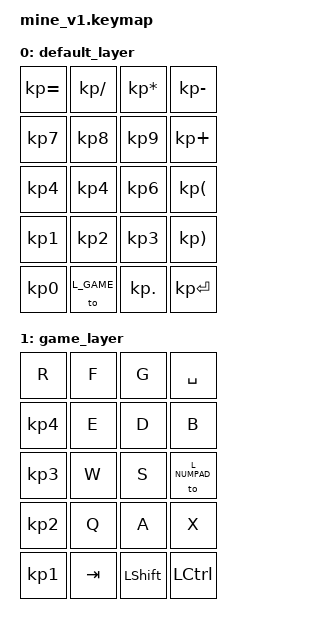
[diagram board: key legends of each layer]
#include <behaviors.dtsi>
#include <dt-bindings/zmk/keys.h>

#define L_NUMPAD  0
#define L_GAME    1

/ {
    keymap {
        compatible = "zmk,keymap";
        
        default_layer {
            bindings = <
                &kp KP_EQUAL    &kp KP_DIVIDE   &kp KP_MULTIPLY     &kp KP_MINUS
                &kp KP_N7       &kp KP_N8       &kp KP_N9           &kp KP_PLUS
                &kp KP_N4       &kp KP_N4       &kp KP_N6           &kp KP_LPAR
                &kp KP_N1       &kp KP_N2       &kp KP_N3           &kp KP_RPAR
                &kp KP_N0       &to L_GAME      &kp KP_DOT          &kp KP_ENTER
            >;
        };

        game_layer {
            bindings = <
                    &kp R           &kp F       &kp G           &kp SPACE
                    &kp KP_N4       &kp E       &kp D           &kp B
                    &kp KP_N3       &kp W       &kp S           &to L_NUMPAD
                    &kp KP_N2       &kp Q       &kp A           &kp X
                    &kp KP_N1       &kp TAB     &kp LSHIFT      &kp LCTRL
            >;
        };
    };
};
